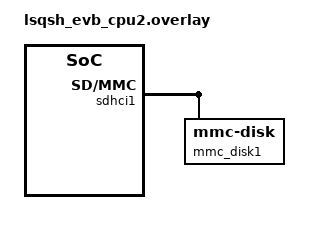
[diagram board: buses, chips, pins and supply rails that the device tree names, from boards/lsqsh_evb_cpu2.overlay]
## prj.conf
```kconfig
CONFIG_NETWORKING=y
CONFIG_NET_ZPERF=y
CONFIG_NET_LOG=y
CONFIG_NET_IPV6=y
CONFIG_NET_IPV4=y
CONFIG_NET_DHCPV4=n
CONFIG_NET_UDP=y
CONFIG_NET_TCP=y
CONFIG_NET_TCP_IPV6_ND_REACHABILITY_HINT=y
CONFIG_NET_STATISTICS=y

CONFIG_NET_PKT_RX_COUNT=40
CONFIG_NET_PKT_TX_COUNT=40
CONFIG_NET_BUF_RX_COUNT=160
CONFIG_NET_BUF_TX_COUNT=160
CONFIG_NET_BUF_DATA_SIZE=256
CONFIG_NET_IF_UNICAST_IPV6_ADDR_COUNT=4
CONFIG_NET_IF_MCAST_IPV6_ADDR_COUNT=5
CONFIG_NET_IF_UNICAST_IPV4_ADDR_COUNT=1
CONFIG_NET_MAX_CONTEXTS=5
CONFIG_NET_TC_TX_COUNT=1
CONFIG_NET_SOCKETS=y
CONFIG_NET_SOCKETS_SERVICE_THREAD_PRIO=-1
CONFIG_ZVFS_POLL_MAX=9
CONFIG_ZVFS_OPEN_MAX=12
CONFIG_POSIX_API=y

CONFIG_INIT_STACKS=y
CONFIG_TEST_RANDOM_GENERATOR=y

CONFIG_NET_L2_ETHERNET=y
CONFIG_NET_SHELL=y

CONFIG_NET_CONFIG_SETTINGS=y
CONFIG_NET_CONFIG_MY_IPV6_ADDR="2001:db8::1"
CONFIG_NET_CONFIG_PEER_IPV6_ADDR="2001:db8::2"
CONFIG_NET_CONFIG_MY_IPV4_ADDR="192.0.2.1"
CONFIG_NET_CONFIG_PEER_IPV4_ADDR="192.0.2.2"

CONFIG_LOG=y
CONFIG_SHELL_CMDS_RESIZE=n

CONFIG_SPEED_OPTIMIZATIONS=y
```

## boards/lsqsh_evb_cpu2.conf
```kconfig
CONFIG_NET_CONFIG_MY_IPV4_ADDR="192.168.1.123"
# CONFIG_NET_CONFIG_MY_IPV4_ADDR="10.10.20.134"
CONFIG_NET_CONFIG_MY_IPV4_GW="192.168.1.2"
CONFIG_MDIO=y
CONFIG_MDIO_SHELL=y

CONFIG_NET_PKT_RX_COUNT=256
CONFIG_NET_PKT_TX_COUNT=256
CONFIG_NET_BUF_RX_COUNT=64
CONFIG_NET_BUF_TX_COUNT=10
CONFIG_NET_BUF_DATA_SIZE=1024
# CONFIG_NET_TCP_MAX_RECV_WINDOW_SIZE=20480
CONFIG_DWMAC_NB_TX_DESCS=12
CONFIG_DWMAC_NB_RX_DESCS=48
# CONFIG_COMPILER_OPT="-O3"
CONFIG_THREAD_ANALYZER=y
# CONFIG_NET_PHY_FORCE_100M=y
# CONFIG_NUM_COOP_PRIORITIES=0


CONFIG_NET_TC_THREAD_PRIO_CUSTOM=y
CONFIG_NET_TC_RX_THREAD_BASE_PRIO=5
CONFIG_NET_TC_TX_THREAD_BASE_PRIO=4

# CONFIG_NET_SOCKETS_SERVICE_THREAD_PRIO=6

CONFIG_MMC_STACK=y

CONFIG_LOG=y
CONFIG_LOG_BUFFER_SIZE=65536
```

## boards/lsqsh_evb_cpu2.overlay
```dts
&sdhci1 {
    max-bus-freq = <DT_FREQ_M(200)>;
    status = "okay";

    mmc_disk1: disk {
        compatible = "zephyr,mmc-disk";
        /* samples/subsys/fs/fs_sample/ assert disk-name to SD2 */
        disk-name = "SD2";
        bus-width = <8>;
        status = "okay";
    };
};
```

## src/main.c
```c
/*
 * Copyright (c) 2020 Nordic Semiconductor ASA
 *
 * SPDX-License-Identifier: Apache-2.0
 */

#include <zephyr/kernel.h>
#include <zephyr/logging/log.h>
LOG_MODULE_REGISTER(main, CONFIG_SOC_LOG_LEVEL);

#include "mmc.c"

#define TASK_STACK_SIZE         4096
#define PRIORITY                7
static struct k_thread test_emmc_id;
K_THREAD_STACK_DEFINE(test_emmc_stack, TASK_STACK_SIZE);

/**
 * @file
 * @brief Zperf sample.
 */
#include <zephyr/usb/usb_device.h>
#include <zephyr/usb/usbd.h>
#include <zephyr/net/net_config.h>

#ifdef CONFIG_NET_LOOPBACK_SIMULATE_PACKET_DROP
#include <zephyr/net/loopback.h>
#endif

#if defined(CONFIG_USB_DEVICE_STACK_NEXT)
#include <sample_usbd.h>

static struct usbd_context *sample_usbd;

static int enable_usb_device_next(void)
{
	int err;

	sample_usbd = sample_usbd_init_device(NULL);
	if (sample_usbd == NULL) {
		return -ENODEV;
	}

	err = usbd_enable(sample_usbd);
	if (err) {
		return err;
	}

	return 0;
}
#endif /* CONFIG_USB_DEVICE_STACK_NEXT */

int main(void)
{
	LOG_INF("zperf");
#if defined(CONFIG_USB_DEVICE_STACK)
	int ret;

	ret = usb_enable(NULL);
	if (ret != 0) {
		LOG_INF("usb enable error %d\n", ret);
	}

	(void)net_config_init_app(NULL, "Initializing network");
#endif /* CONFIG_USB_DEVICE_STACK */

#if defined(CONFIG_USB_DEVICE_STACK_NEXT)
	if (enable_usb_device_next()) {
		return 0;
	}

	(void)net_config_init_app(NULL, "Initializing network");
#endif /* CONFIG_USB_DEVICE_STACK_NEXT */

#ifdef CONFIG_NET_LOOPBACK_SIMULATE_PACKET_DROP
	loopback_set_packet_drop_ratio(1);
#endif

#if defined(CONFIG_NET_DHCPV4) && !defined(CONFIG_NET_CONFIG_SETTINGS)
	net_dhcpv4_start(net_if_get_default());
#endif

#if !DT_NODE_HAS_STATUS(DT_NODELABEL(cpu1), okay)
	k_thread_create(&test_emmc_id, test_emmc_stack, TASK_STACK_SIZE,
		test_emmc_entry, NULL, NULL, NULL, PRIORITY,
		K_INHERIT_PERMS, K_FOREVER);
	k_thread_name_set(&test_emmc_id, "emmc test");
	k_thread_start(&test_emmc_id);
#endif

	return 0;
}
```

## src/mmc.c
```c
#include <zephyr/device.h>
#include <zephyr/drivers/disk.h>
#include <zephyr/sd/mmc.h>
#include <zephyr/kernel.h>

#define SECTOR_COUNT 32
#define SECTOR_SIZE  512 /* subsystem should set all cards to 512 byte blocks */
#define BUF_SIZE     (SECTOR_SIZE * SECTOR_COUNT)
static const struct device *const sdhc_dev = DEVICE_DT_GET(DT_ALIAS(sdhc0));
static struct sd_card card;
static uint8_t buf[BUF_SIZE] __aligned(CONFIG_SDHC_BUFFER_ALIGNMENT);
// static uint8_t check_buf[BUF_SIZE] __aligned(CONFIG_SDHC_BUFFER_ALIGNMENT);
static uint32_t sector_size;
static uint32_t sector_count;

#define MMC_UNALIGN_OFFSET 1

void test_emmc_func(void)
{
    int ret;
    // int count = 0;

    __ASSERT(device_is_ready(sdhc_dev), "SDHC device is not ready");
    card.bus_width = 8;
    ret = sd_init(sdhc_dev, &card);

    ret = mmc_ioctl(&card, DISK_IOCTL_GET_SECTOR_COUNT, &sector_count);
    __ASSERT(0 == ret, "IOCTL sector count read failed");
    LOG_INF("SD card reports sector count of %d\n", sector_count);

    ret = mmc_ioctl(&card, DISK_IOCTL_GET_SECTOR_SIZE, &sector_size);
    __ASSERT(0 == ret, "IOCTL sector size read failed");
    LOG_INF("SD card reports sector size of %d\n", sector_size);

    while (true) {
        int block_addr = sector_count / 2;
        for (int i = 0; i < 10; i++) {
            ret = mmc_read_blocks(&card, buf, block_addr, SECTOR_COUNT);
            // count++;
            // if (count > 1000) {
            //     count = 0;
            LOG_INF("%s: buf: %#x %#x %#x %#x\n", __func__, buf[0], buf[1], buf[2], buf[3]);
            // }
            __ASSERT(0 == ret, "Multiple reads from same addr failed");
            k_msleep(100);
        }
    }
}

static void test_emmc_entry(void *dummy1, void *dummy2, void *dummy3)
{
	LOG_INF("%s", __func__);
    test_emmc_func();
}
```
